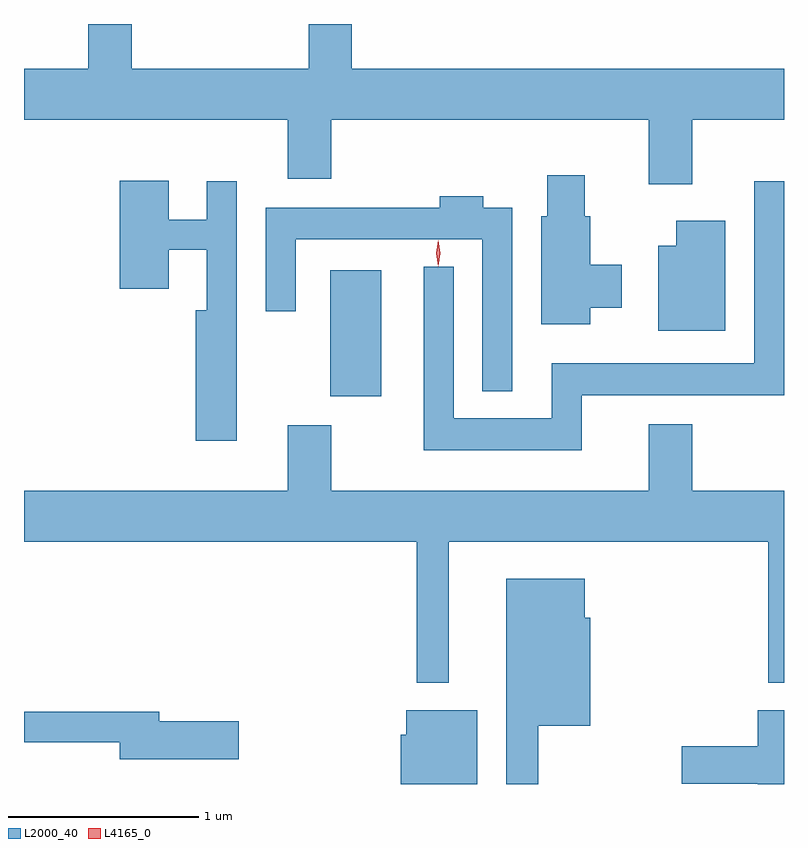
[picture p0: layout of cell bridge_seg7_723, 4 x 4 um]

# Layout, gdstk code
import gdstk
lib = gdstk.Library(unit=1e-6, precision=1e-09)
def R(c, l, rs):  # rectangles x0, y0, x1, y1
    for r in rs: c.add(gdstk.rectangle(r[:2], r[2:], *l))
def P(c, l, *ps):  # polygons
    for p in ps: c.add(gdstk.Polygon(p, *l))
L2000_40 = (2000, 40)
L4165_0 = (4165, 0)

bridge_seg7_723 = lib.new_cell('bridge_seg7_723')
R(bridge_seg7_723, L2000_40, [(597.846,1755.041,598.114,1755.704)])
P(bridge_seg7_723, L2000_40, [(599.749,1756.496),(600.233,1756.496),(600.233,1756.764),(597.959,1756.764),(597.959,1757),(597.731,1757),(597.731,1756.764),(596.799,1756.764),(596.799,1757),(596.571,1757),(596.571,1756.764),(596.233,1756.764),(596.233,1756.496),(597.621,1756.496),(597.621,1756.186),(597.849,1756.186),(597.849,1756.496),(599.521,1756.496),(599.521,1756.156),(599.749,1756.156)],
  [(599.214,1755.506),(599.379,1755.506),(599.379,1755.734),(599.214,1755.734),(599.214,1755.989),(599.184,1755.989),(599.184,1756.204),(598.986,1756.204),(598.986,1755.989),(598.956,1755.989),(598.956,1755.421),(599.214,1755.421)],
  [(597.354,1756.173),(597.196,1756.173),(597.196,1755.969),(596.994,1755.969),(596.994,1756.174),(596.736,1756.174),(596.736,1755.606),(596.994,1755.606),(596.994,1755.811),(597.196,1755.811),(597.196,1755.494),(597.136,1755.494),(597.136,1754.806),(597.354,1754.806)],
  [(599.169,1755.046),(600.233,1755.046),(600.233,1756.173),(600.076,1756.173),(600.076,1755.214),(599.011,1755.214),(599.011,1754.924),(598.494,1754.924),(598.494,1755.723),(598.336,1755.723),(598.336,1754.756),(599.169,1754.756)],
  [(598.804,1756.034),(598.649,1756.034),(598.649,1756.094),(598.421,1756.094),(598.421,1756.034),(597.506,1756.034),(597.506,1755.488),(597.664,1755.488),(597.664,1755.866),(598.646,1755.866),(598.646,1755.068),(598.804,1755.068)],
  [(599.924,1755.964),(599.666,1755.964),(599.666,1755.834),(599.571,1755.834),(599.571,1755.386),(599.924,1755.386)],
  [(598.469,1754.276),(600.151,1754.276),(600.151,1753.533),(600.233,1753.533),(600.233,1754.544),(599.749,1754.544),(599.749,1754.894),(599.521,1754.894),(599.521,1754.544),(597.849,1754.544),(597.849,1754.889),(597.621,1754.889),(597.621,1754.544),(596.233,1754.544),(596.233,1754.276),(598.301,1754.276),(598.301,1753.533),(598.469,1753.533)],
  [(598.939,1753.306),(599.214,1753.306),(599.214,1753.874),(599.184,1753.874),(599.184,1754.079),(598.771,1754.079),(598.771,1753),(598.939,1753)],
  [(600.233,1753.389),(600.096,1753.389),(600.096,1753.199),(599.696,1753.199),(599.696,1753.001),(600.096,1753.001),(600.096,1753),(600.233,1753)],
  [(598.619,1753.389),(598.246,1753.389),(598.246,1753.259),(598.216,1753.259),(598.216,1753),(598.619,1753)],
  [(597.364,1753.329),(596.944,1753.329),(596.944,1753.379),(596.233,1753.379),(596.233,1753.221),(596.736,1753.221),(596.736,1753.131),(597.364,1753.131)])
P(bridge_seg7_723, L4165_0, [(598.413,1755.723),(598.412,1755.724),(598.403,1755.793),(598.412,1755.862),(598.413,1755.863),(598.413,1755.862),(598.423,1755.793),(598.413,1755.724)])

lib.write_gds('bridge_seg7_723.gds')
